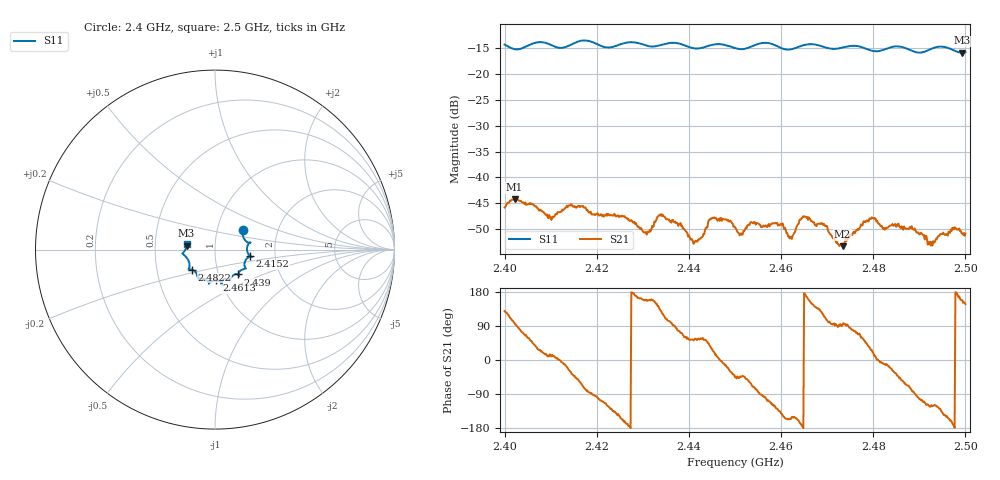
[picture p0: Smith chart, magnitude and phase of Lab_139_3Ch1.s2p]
# Hz S RI R 50
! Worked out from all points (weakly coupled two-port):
!   601 points, 2.4 GHz to 2.5 GHz, reference 50 ohm
!   highest |S21| = -44.20 dB at 2.4022 GHz (marker M1); lowest = -53.3 dB at 2.4733 GHz (marker M2)
!   lowest |S11| = -15.9 dB at 2.4993 GHz (marker M3), VSWR 1.38, Z = 36.3 + j1.6 ohm
!   |S11| at or under -10 dB: start of sweep to end of sweep
!   S12 and S22 are empty: the file has one direction only
!   S11 on the Smith chart (normalised r, x): 2.4 GHz: 1.33, +0.31; 2.4152 GHz: 1.48, -0.11; 2.439 GHz: 1.24, -0.35; 2.4613 GHz: 0.96, -0.34; 2.4822 GHz: 0.76, -0.17; 2.5 GHz: 0.73, +0.05
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2.4e9  0.1557 0.1113  -0.00322 0.00399  0 0  0 0
2.402167e9  0.1556 0.0753  -0.000764 0.00612  0 0  0 0
2.409833e9  0.1889 0.034  0.00406 0.00108  0 0  0 0
2.415167e9  0.1951 -0.0362  0.00396 -0.00351  0 0  0 0
2.416667e9  0.2047 -0.042  0.00236 -0.00472  0 0  0 0
2.430667e9  0.1509 -0.1119  -0.00275 0.00106  0 0  0 0
2.433333e9  0.1318 -0.1324  -0.00337 0.00254  0 0  0 0
2.439e9  0.128 -0.1383  0.00156 0.00273  0 0  0 0
2.441333e9  0.1055 -0.1404  0.00134 0.00201  0 0  0 0
2.445e9  0.0842 -0.1703  0.00355 0.00195  0 0  0 0
2.45e9  0.069 -0.1633  0.00232 -0.00234  0 0  0 0
2.458667e9  0.0364 -0.1857  -0.00188 -0.00306  0 0  0 0
2.461333e9  0.00766 -0.171  -0.00263 -0.00122  0 0  0 0
2.466667e9  -0.0335 -0.1902  -0.00322 0.002  0 0  0 0
2.473333e9  -0.0809 -0.1601  -0.000112 0.00217  0 0  0 0
2.479667e9  -0.1046 -0.1304  0.00368 0.00182  0 0  0 0
2.482167e9  -0.1282 -0.1117  0.00315 -0.000524  0 0  0 0
2.483333e9  -0.1395 -0.1101  0.0032 -0.000896  0 0  0 0
2.4885e9  -0.142 -0.0862  0.000381 -0.00317  0 0  0 0
2.492333e9  -0.169 -0.0328  -0.00132 -0.002  0 0  0 0
2.499333e9  -0.1583 0.0214  -0.00266 0.00108  0 0  0 0
2.5e9  -0.1579 0.0334  -0.00243 0.00154  0 0  0 0
